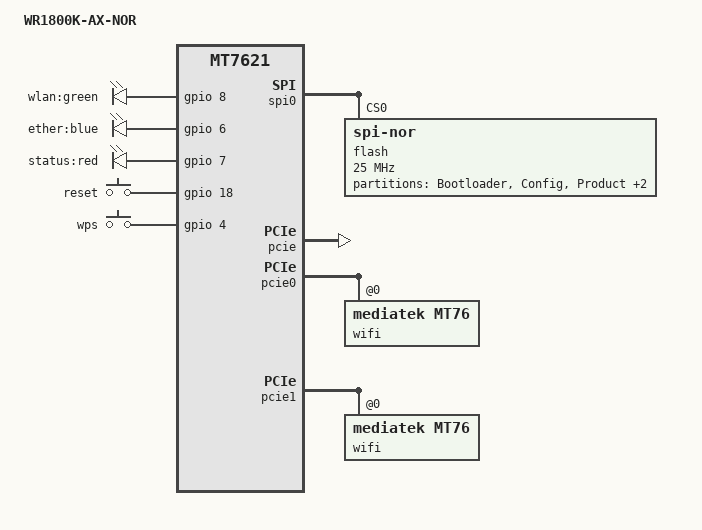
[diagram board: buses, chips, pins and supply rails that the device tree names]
/dts-v1/;

#include "mt7621.dtsi"

#include <dt-bindings/gpio/gpio.h>
#include <dt-bindings/input/input.h>

/ {
	compatible = "xwrt,wr1800k-ax-nor", "mediatek,mt7621-soc";
	model = "WR1800K-AX-NOR";

	aliases {
		led-status = &led_ether;
		label-mac-device = &ethernet;
	};

	chosen {
		bootargs = "console=ttyS0,115200";
	};

	leds {
		compatible = "gpio-leds";

		wlan {
			label = "wlan:green";
			gpios = <&gpio 8 GPIO_ACTIVE_HIGH>;
			default-state = "off";
		};

		led_ether: ether {
			label = "ether:blue";
			gpios = <&gpio 6 GPIO_ACTIVE_HIGH>;
			default-state = "on";
		};

		status {
			label = "status:red";
			gpios = <&gpio 7 GPIO_ACTIVE_HIGH>;
			default-state = "off";
		};
	};

	keys {
		compatible = "gpio-keys";

		reset {
			label = "reset";
			gpios = <&gpio 18 GPIO_ACTIVE_HIGH>;
			linux,code = <KEY_RESTART>;
		};

		wps {
			label = "wps";
			gpios = <&gpio 4 GPIO_ACTIVE_HIGH>;
			linux,code = <KEY_WPS_BUTTON>;
		};
	};
};

&spi0 {
	status = "okay";

	flash@0 {
		compatible = "jedec,spi-nor";
		reg = <0>;
		spi-max-frequency = <25000000>;
		broken-flash-reset;
		m25p,fast-read;

		partitions {
			compatible = "fixed-partitions";
			#address-cells = <1>;
			#size-cells = <1>;

			partition@0 {
				label = "Bootloader";
				reg = <0x0 0x30000>;
			};

			partition@30000 {
				label = "Config";
				reg = <0x30000 0x10000>;
			};

			partition@40000 {
				label = "Product";
				reg = <0x40000 0x10000>;
			};

			factory: partition@50000 {
				label = "factory";
				reg = <0x50000 0x40000>;
			};

			partition@90000 {
				compatible = "denx,uimage";
				label = "firmware";
				reg = <0x90000 0xf70000>;
			};
		};
	};
};

&pcie {
	status = "okay";
};

&pcie0 {
	wifi@0,0 {
		compatible = "mediatek,mt76";
		reg = <0x0000 0 0 0 0>;
		mediatek,mtd-eeprom = <&factory 0x0000>;
		mtd-mac-address = <&factory 0x4>;
	};
};

&pcie1 {
	wifi@0,0 {
		compatible = "mediatek,mt76";
		reg = <0x0000 0 0 0 0>;
		mediatek,mtd-eeprom = <&factory 0x0000>;
		mtd-mac-address = <&factory 0x4>;
	};
};

&ethernet {
	compatible = "mediatek,ralink-mt7621-eth";
	pinctrl-names = "default";
	pinctrl-0 = <&rgmii1_pins &rgmii2_pins &mdio_pins>;

	mediatek,switch = <&gsw>;
	mtd-mac-address = <&factory 0x28>;
};

&switch0 {
	/* must delete compatible property */
	/delete-property/ compatible;
	phy-mode = "rgmii";
};

&gsw {
	compatible = "mediatek,ralink-mt7621-gsw";
};

&pinctrl {
	state_default: pinctrl0 {
		gpio {
			groups = "i2c", "uart2", "uart3";
			function = "gpio";
		};
	};
};
